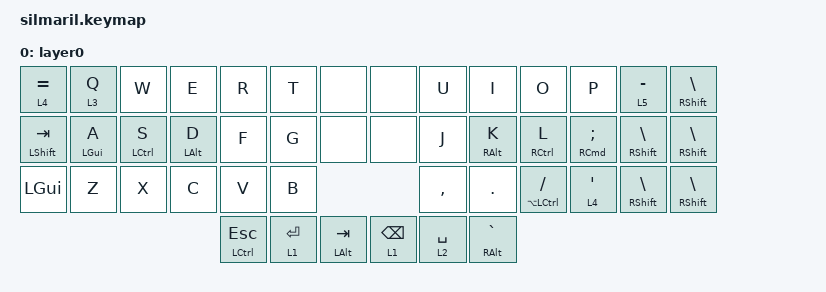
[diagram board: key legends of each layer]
/*
 * Copyright (c) 2020 The ZMK Contributors
 *
 * SPDX-License-Identifier: MIT
 */

#include <behaviors.dtsi>
#include <dt-bindings/zmk/bt.h>
#include <dt-bindings/zmk/keys.h>

/ {
    behaviors {
        hm: homerow_mods {
            compatible = "zmk,behavior-hold-tap";
            label = "HOMEROW_MODS";
            bindings = <&kp>, <&kp>;

            #binding-cells = <2>;
            tapping-term-ms = <200>;
            flavor = "tap-preferred";
            require-prior-idle-ms = <125>;
            quick-tap-ms = <200>;
        };

        shifthr: shifthr {
            compatible = "zmk,behavior-hold-tap";
            label = "SHIFTHR";
            bindings = <&kp>, <&kp>;

            #binding-cells = <2>;
            tapping-term-ms = <185>;
            flavor = "tap-preferred";
            quick-tap-ms = <185>;
        };

        weak: weak {
            compatible = "zmk,behavior-hold-tap";
            label = "WEAK";
            bindings = <&kp>, <&kp>;

            #binding-cells = <2>;
            tapping-term-ms = <230>;
            flavor = "tap-preferred";
            require-prior-idle-ms = <125>;
            quick-tap-ms = <230>;
        };
    };

    keymap {
        compatible = "zmk,keymap";

        layer0 {
            bindings = <
&lt 4 EQUAL         &lt 3 Q         &kp W               &kp E                    &kp R                      &kp T           &none                    &none            &kp U            &kp I           &kp O                    &kp P                        &lt 5 MINUS            &hm RSHFT BACKSLASH
&mt LEFT_SHIFT TAB  &hm LEFT_GUI A  &hm LEFT_CONTROL S  &hm LEFT_ALT D           &kp F                      &kp G           &none                    &none            &kp J            &hm RALT K      &hm RIGHT_CONTROL L      &hm RIGHT_COMMAND SEMICOLON  &hm RSHFT BACKSLASH    &hm RSHFT BACKSLASH
&kp LEFT_GUI        &kp Z           &kp X               &kp C                    &kp V                      &kp B                                                     &kp COMMA        &kp DOT         &mt LA(LCTRL) SLASH      &lt 4 SQT                    &hm RSHFT BACKSLASH    &hm RSHFT BACKSLASH
                                                                                 &mt LEFT_CONTROL ESCAPE    &lt 1 ENTER     &mt LALT TAB             &lt 1 BACKSPACE  &lt 2 SPACE      &mt RALT GRAVE
            >;
        };
    };
};
